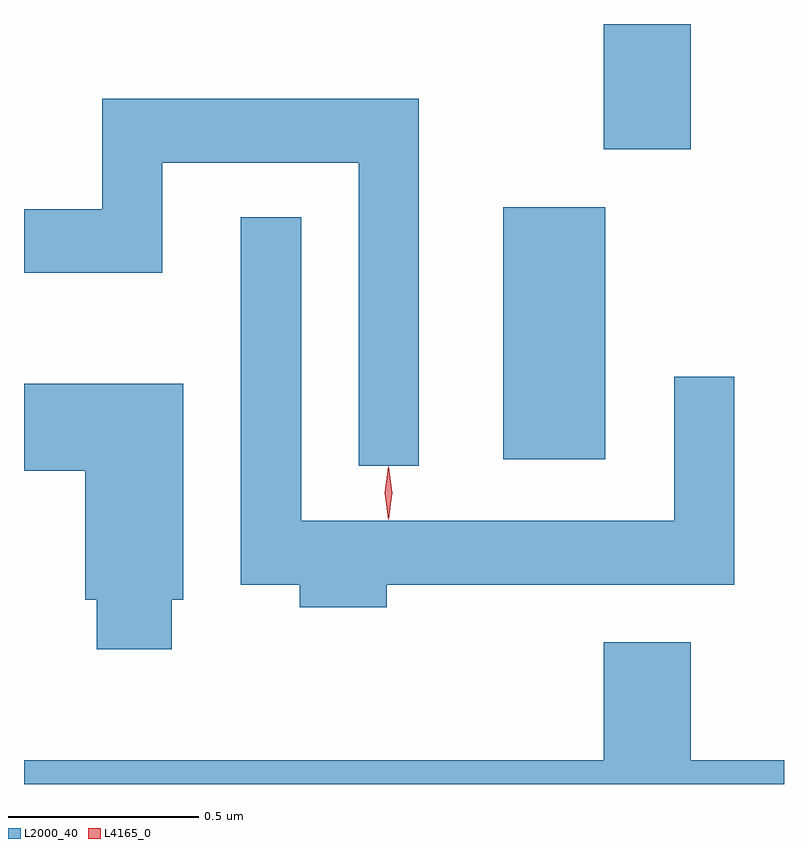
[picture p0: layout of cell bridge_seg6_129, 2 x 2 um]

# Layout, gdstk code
import gdstk
lib = gdstk.Library(unit=1e-6, precision=1e-09)
def R(c, l, rs):  # rectangles x0, y0, x1, y1
    for r in rs: c.add(gdstk.rectangle(r[:2], r[2:], *l))
def P(c, l, *ps):  # polygons
    for p in ps: c.add(gdstk.Polygon(p, *l))
L2000_40 = (2000, 40)
L4165_0 = (4165, 0)

bridge_seg6_129 = lib.new_cell('bridge_seg6_129')
R(bridge_seg6_129, L2000_40, [(1223.136,1655.436,1223.404,1656.099), (1223.401,1656.251,1223.629,1656.581)])
P(bridge_seg6_129, L2000_40, [(1222.914,1656.384),(1222.081,1656.384),(1222.081,1656.094),(1221.875,1656.094),(1221.875,1655.926),(1222.239,1655.926),(1222.239,1656.216),(1222.756,1656.216),(1222.756,1655.418),(1222.914,1655.418)],
  [(1222.829,1655.106),(1223.744,1655.106),(1223.744,1655.653),(1223.586,1655.653),(1223.586,1655.274),(1222.604,1655.274),(1222.604,1656.073),(1222.446,1656.073),(1222.446,1655.106),(1222.601,1655.106),(1222.601,1655.046),(1222.829,1655.046)],
  [(1222.264,1655.066),(1222.294,1655.066),(1222.294,1655.634),(1221.875,1655.634),(1221.875,1655.406),(1222.036,1655.406),(1222.036,1655.066),(1222.066,1655.066),(1222.066,1654.936),(1222.264,1654.936)],
  [(1223.875,1654.644),(1223.629,1654.644),(1223.629,1654.954),(1223.401,1654.954),(1223.401,1654.644),(1221.875,1654.644),(1221.875,1654.581),(1223.875,1654.581)])
P(bridge_seg6_129, L4165_0, [(1222.834,1655.277),(1222.834,1655.278),(1222.824,1655.347),(1222.834,1655.416),(1222.834,1655.416),(1222.835,1655.416),(1222.844,1655.347),(1222.835,1655.278)],
  [(1222.834,1655.28),(1222.834,1655.28),(1222.824,1655.346),(1222.834,1655.412),(1222.834,1655.413),(1222.835,1655.412),(1222.844,1655.346),(1222.835,1655.28)])

lib.write_gds('bridge_seg6_129.gds')
